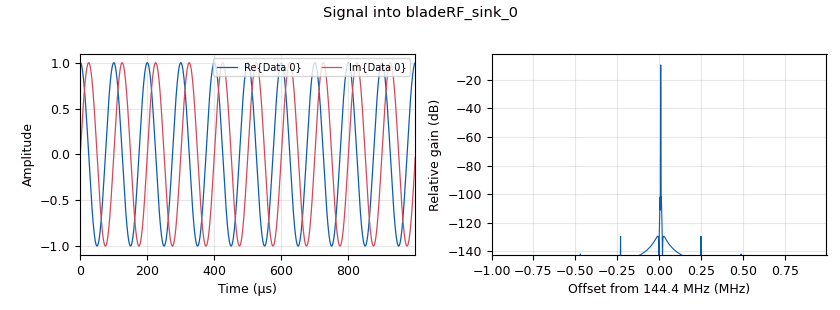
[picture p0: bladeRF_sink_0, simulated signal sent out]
options:
  parameters:
    generate_options: qt_gui
    id: tx_example
    output_language: python
    title: Not titled yet
  states: {}

blocks:
- name: freq
  id: variable
  parameters:
    value: 144.4e6
  states: {}
- name: rf_gain_sink
  id: variable_qtgui_range
  parameters:
    label: RF gain sink
    start: '0'
    step: '1'
    stop: '60'
    value: '10'
  states: {}
- name: samp_rate
  id: variable
  parameters:
    value: 2e6
  states: {}
- name: analog_sig_source_x_0
  id: analog_sig_source_x
  parameters:
    amp: '1'
    freq: '10000'
    offset: '0'
    phase: '0'
    samp_rate: samp_rate
    type: complex
    waveform: analog.GR_COS_WAVE
  states: {}
- name: bladeRF_sink_0
  id: bladeRF_sink
  parameters:
    bias_tee0: 'False'
    bias_tee1: 'False'
    bw0: samp_rate
    bw1: '200000'
    corr0: '0'
    corr1: '0'
    dac: '10000'
    dc_calibration: LPF_TUNING
    device_id: '0'
    fpga_image: ''
    fpga_reload: 'False'
    freq0: freq
    freq1: 1e8
    gain0: rf_gain_sink
    gain1: '10'
    if_gain0: '20'
    if_gain1: '20'
    in_clk: ONBOARD
    lpf_mode: disabled
    metadata: 'False'
    nchan: '1'
    out_clk: 'False'
    ref_clk: 10e6
    sample_rate: samp_rate
    sampling: internal
    smb: '0'
    tamer: internal
    trigger0: 'True'
    trigger1: 'False'
    trigger_role0: master
    trigger_role1: master
    trigger_signal0: J51_1
    trigger_signal1: J51_1
    verbosity: verbose
    xb200: none
  states: {}
- name: bladeRF_source_0
  id: bladeRF_source
  parameters:
    bias_tee0: 'False'
    bias_tee1: 'False'
    bw0: samp_rate
    bw1: '200000'
    corr0: '0'
    corr1: '0'
    dac: '10000'
    dc_calibration: LPF_TUNING
    dc_offset_mode0: '0'
    dc_offset_mode1: '0'
    device_id: '0'
    fpga_image: ''
    fpga_reload: 'False'
    freq0: freq
    freq1: 1e8
    gain0: '10'
    gain1: '10'
    gain_mode0: 'False'
    gain_mode1: 'False'
    if_gain0: '20'
    if_gain1: '20'
    in_clk: ONBOARD
    iq_balance_mode0: '0'
    iq_balance_mode1: '0'
    lpf_mode: disabled
    metadata: 'False'
    nchan: '1'
    out_clk: 'False'
    ref_clk: 10e6
    sample_rate: samp_rate
    sampling: internal
    smb: '0'
    tamer: internal
    trigger0: 'True'
    trigger1: 'False'
    trigger_role0: slave
    trigger_role1: master
    trigger_signal0: J51_1
    trigger_signal1: J51_1
    verbosity: verbose
    xb200: none
  states: {}
- name: qtgui_freq_sink_x_0
  id: qtgui_freq_sink_x
  parameters:
    bw: samp_rate
    fc: freq
    fftsize: '1024'
    type: complex
  states: {}

connections:
- [analog_sig_source_x_0, '0', bladeRF_sink_0, '0']
- [bladeRF_source_0, '0', qtgui_freq_sink_x_0, '0']

metadata:
  file_format: 1
